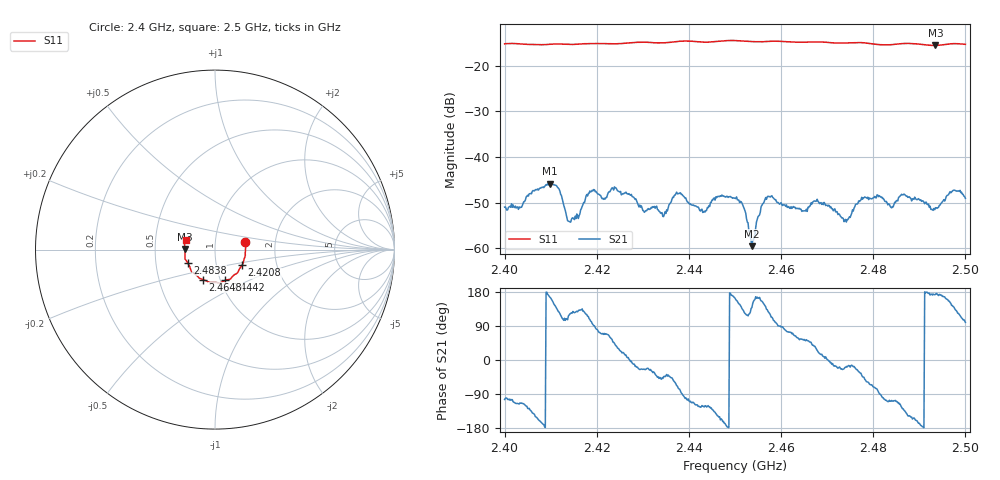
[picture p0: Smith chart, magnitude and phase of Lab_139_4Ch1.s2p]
# Hz S RI R 50
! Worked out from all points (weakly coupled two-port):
!   601 points, 2.4 GHz to 2.5 GHz, reference 50 ohm
!   highest |S21| = -45.87 dB at 2.4098 GHz (marker M1); lowest = -59.5 dB at 2.4537 GHz (marker M2)
!   lowest |S11| = -15.6 dB at 2.4935 GHz (marker M3), VSWR 1.40, Z = 35.8 + j0.195 ohm
!   |S11| at or under -10 dB: start of sweep to end of sweep
!   S12 and S22 are empty: the file has one direction only
!   S11 on the Smith chart (normalised r, x): 2.4 GHz: 1.40, +0.12; 2.4208 GHz: 1.33, -0.24; 2.4442 GHz: 1.05, -0.37; 2.4648 GHz: 0.83, -0.29; 2.4838 GHz: 0.73, -0.11; 2.5 GHz: 0.72, +0.08
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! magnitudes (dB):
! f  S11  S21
! 2.4 GHz  -15.2  -51.0
! 2.4098 GHz  -15.3  -45.9
! 2.4118 GHz  -15.3  -47.1
! 2.414 GHz  -15.4  -54.1
! 2.4167 GHz  -15.2  -51.3
! 2.4208 GHz  -15.2  -48.4
! 2.4333 GHz  -15.0  -51.6
! 2.4377 GHz  -14.7  -48.0
! 2.4442 GHz  -14.9  -51.1
! 2.45 GHz  -14.5  -49.0
! 2.4518 GHz  -14.6  -50.9
! 2.4537 GHz  -14.8  -59.5
! 2.457 GHz  -14.7  -48.7
! 2.4648 GHz  -14.9  -51.8
! 2.4667 GHz  -14.8  -50.3
! 2.474 GHz  -15.1  -53.7
! 2.478 GHz  -15.0  -48.9
! 2.4833 GHz  -15.5  -50.3
! 2.4838 GHz  -15.4  -51.0
! 2.4865 GHz  -15.2  -48.3
! 2.4935 GHz  -15.6  -51.1
! 2.5 GHz  -15.4  -49.1
